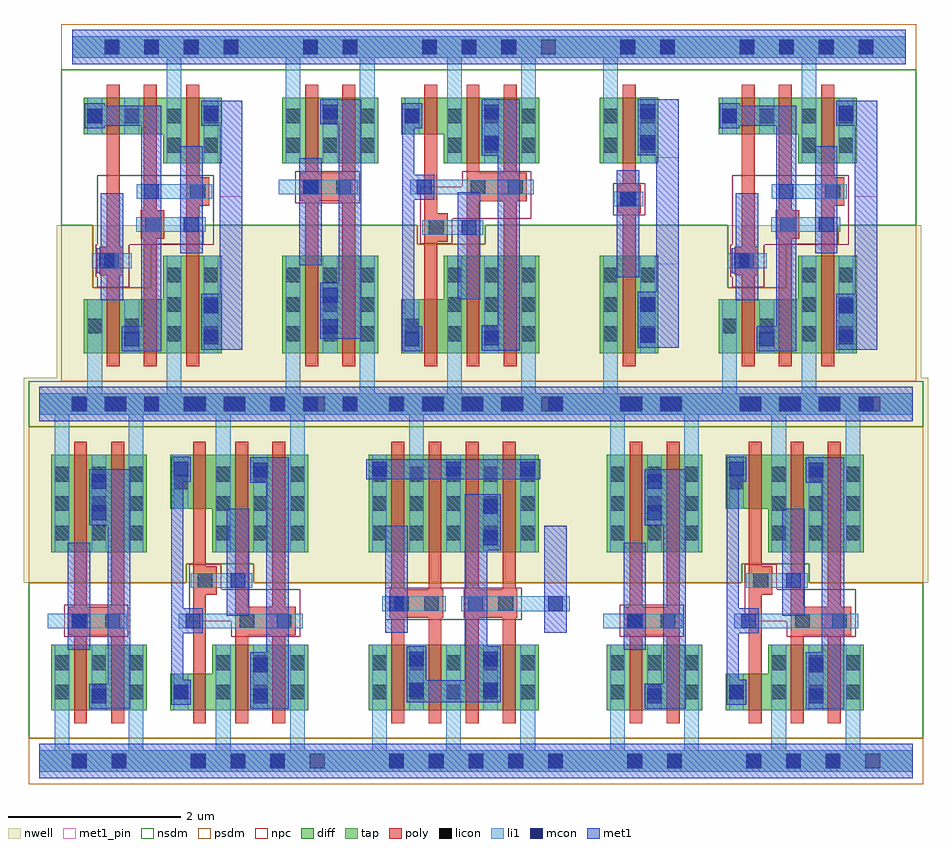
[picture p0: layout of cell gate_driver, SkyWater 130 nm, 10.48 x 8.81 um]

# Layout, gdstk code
from math import pi, radians
import gdstk
lib = gdstk.Library(unit=1e-6, precision=1e-09)
def R(c, l, rs):  # rectangles x0, y0, x1, y1
    for r in rs: c.add(gdstk.rectangle(r[:2], r[2:], *l))
def A(c, l, x, y, w, h, nx, ny, dx, dy):  # array of equal rectangles
    R(c, l, [(x+i*dx, y+j*dy, x+i*dx+w, y+j*dy+h) for i in range(nx) for j in range(ny)])
def P(c, l, *ps):  # polygons
    for p in ps: c.add(gdstk.Polygon(p, *l))
nwell = (64, 20)
diff = (65, 20)
tap = (65, 44)
poly = (66, 20)
licon = (66, 44)
li1 = (67, 20)
mcon = (67, 44)
met1_pin = (68, 16)
met1 = (68, 20)
nsdm = (93, 44)
psdm = (94, 20)
npc = (95, 20)

l1m1_c_cdns_784651134380 = lib.new_cell('L1M1_C_CDNS_784651134380')
R(l1m1_c_cdns_784651134380, li1, [(-0.085,-0.345,0.085,0.345)])
R(l1m1_c_cdns_784651134380, mcon, [(-0.085,-0.265,0.085,-0.095), (-0.085,0.095,0.085,0.265)])
R(l1m1_c_cdns_784651134380, met1, [(-0.115,-0.325,0.115,0.325)])

pyl1con_c_cdns_784651134 = lib.new_cell('PYL1CON_C_CDNS_784651134381')
R(pyl1con_c_cdns_784651134, poly, [(-0.135,-0.165,0.135,0.165)])
R(pyl1con_c_cdns_784651134, licon, [(-0.085,-0.085,0.085,0.085)])
R(pyl1con_c_cdns_784651134, npc, [(-0.185,-0.185,0.185,0.185)])

lilicon_c_cdns_784651134 = lib.new_cell('LILICON_C_CDNS_784651134382')
R(lilicon_c_cdns_784651134, licon, [(-0.085,-0.085,0.085,0.085), (-0.085,-0.085,0.085,0.085)])
R(lilicon_c_cdns_784651134, li1, [(-0.085,-0.165,0.085,0.165)])

l1m1_c_cdns_784651134383 = lib.new_cell('L1M1_C_CDNS_784651134383')
R(l1m1_c_cdns_784651134383, li1, [(-0.165,-0.085,0.165,0.085)])
R(l1m1_c_cdns_784651134383, mcon, [(-0.085,-0.085,0.085,0.085)])
R(l1m1_c_cdns_784651134383, met1, [(-0.115,-0.145,0.115,0.145)])

l1m1_c_cdns_784651134384 = lib.new_cell('L1M1_C_CDNS_784651134384')
R(l1m1_c_cdns_784651134384, li1, [(-0.085,-0.165,0.085,0.165)])
R(l1m1_c_cdns_784651134384, mcon, [(-0.085,-0.085,0.085,0.085)])
R(l1m1_c_cdns_784651134384, met1, [(-0.115,-0.145,0.115,0.145)])

licondiff_c_cdns_7846511 = lib.new_cell('LICONDIFF_C_CDNS_784651134385')
R(licondiff_c_cdns_7846511, diff, [(-0.125,-0.145,0.125,0.145)])
R(licondiff_c_cdns_7846511, licon, [(-0.085,-0.085,0.085,0.085), (-0.085,-0.085,0.085,0.085)])

and2x1 = lib.new_cell('AND2X1')
R(and2x1, nwell, [(-0.18,2.07,2.48,4.445)])
P(and2x1, diff, [(1.735,3.55),(0.135,3.55),(0.135,2.925),(1.055,2.925),(1.055,2.42),(1.735,2.42)],
  [(1.735,1.35),(1.055,1.35),(1.055,1.015),(0.135,1.015),(0.135,0.59),(1.735,0.59)])
R(and2x1, poly, [(0.4,0.44,0.55,3.7), (0.83,0.44,0.98,3.7), (1.32,0.44,1.47,3.7)])
A(and2x1, licon, 0.375, -0.085, 0.17, 0.17, 4, 2, 0.46, 4.14)
A(and2x1, licon, 1.095, 2.56, 0.17, 0.17, 1, 3, 0, 0.34)
A(and2x1, licon, 1.525, 2.56, 0.17, 0.17, 1, 3, 0, 0.34)
R(and2x1, licon, [(0.175,0.715,0.345,0.885), (1.095,0.715,1.265,0.885), (1.525,0.715,1.695,0.885), (1.095,1.055,1.265,1.225), (1.525,1.055,1.695,1.225), (0.175,3.15,0.345,3.32), (0.605,3.15,0.775,3.32)])
R(and2x1, li1, [(0.175,0.59,0.345,1.015), (1.525,0.59,1.695,1.35), (1.525,2.42,1.695,3.55), (0.605,2.925,0.775,3.55)])
P(and2x1, li1, [(2.3,0.125),(1.265,0.125),(1.265,1.35),(1.095,1.35),(1.095,0.125),(0,0.125),(0,-0.125),(2.3,-0.125)],
  [(2.3,4.265),(0,4.265),(0,4.015),(0.175,4.015),(0.175,2.925),(0.345,2.925),(0.345,4.015),(1.095,4.015),(1.095,2.42),(1.265,2.42),(1.265,4.015),(2.3,4.015)])
A(and2x1, mcon, 0.375, -0.085, 0.17, 0.17, 4, 2, 0.46, 4.14)
R(and2x1, met1_pin, [(1.25,1.155,1.51,2.395), (0.33,1.695,0.59,2.935), (1.71,1.73,1.97,3.51)])
P(and2x1, met1, [(1.03,3.53),(0.575,3.53),(0.575,3.3),(0.69,3.3),(0.69,3.24),(0.8,3.24),(0.8,0.915),(0.26,0.915),(0.26,0.685),(1.03,0.685)])
R(and2x1, nsdm, [(-0.125,3.875,2.425,4.405)])
P(and2x1, nsdm, [(2.425,2.07),(1.52,2.07),(1.52,2.29),(0.915,2.29),(0.915,2.795),(0.24,2.795),(0.24,2.07),(-0.125,2.07),(-0.125,0.265),(2.425,0.265)])
R(and2x1, psdm, [(-0.125,-0.265,2.425,0.265)])
P(and2x1, psdm, [(2.425,3.875),(-0.125,3.875),(-0.125,2.07),(0.24,2.07),(0.24,2.795),(0.915,2.795),(0.915,2.29),(1.52,2.29),(1.52,2.07),(2.425,2.07)])
P(and2x1, npc, [(1.64,2.295),(0.66,2.295),(0.66,2.785),(0.29,2.785),(0.29,1.49),(1.64,1.49)])
and2x1.add(gdstk.FlexPath([(0.235,2.48),(0.69,2.48)], 0.17, ends="flush", simple_path=True, layer=67, datatype=20))  # li1
and2x1.add(gdstk.FlexPath([(0.915,1.675),(1.455,1.675)], 0.17, ends="flush", simple_path=True, layer=67, datatype=20))  # li1
and2x1.add(gdstk.FlexPath([(0.74,2.06),(1.38,2.06)], 0.17, ends="flush", simple_path=True, layer=67, datatype=20))  # li1
and2x1.add(gdstk.FlexPath([(0.69,0.59),(0.69,1.015)], 0.17, ends="flush", simple_path=True, layer=67, datatype=20))  # li1
and2x1.add(gdstk.FlexPath([(0,4.14),(2.3,4.14)], 0.4, ends="flush", simple_path=True, layer=68, datatype=16))  # met1_pin
and2x1.add(gdstk.FlexPath([(0,0),(2.3,0)], 0.4, ends="flush", simple_path=True, layer=68, datatype=16))  # met1_pin
and2x1.add(gdstk.FlexPath([(0,0),(2.3,0)], 0.25, ends="flush", simple_path=True, layer=65, datatype=44))  # tap
and2x1.add(gdstk.FlexPath([(0,4.14),(2.3,4.14)], 0.25, ends="flush", simple_path=True, layer=65, datatype=44))  # tap
and2x1.add(gdstk.FlexPath([(0,0),(2.3,0)], 0.4, ends="flush", simple_path=True, layer=68, datatype=20))  # met1
and2x1.add(gdstk.FlexPath([(0,4.14),(2.3,4.14)], 0.4, ends="flush", simple_path=True, layer=68, datatype=20))  # met1
and2x1.add(gdstk.FlexPath([(1.38,2.395),(1.38,1.155)], 0.26, ends="flush", simple_path=True, layer=68, datatype=20))  # met1
and2x1.add(gdstk.FlexPath([(1.495,3.38),(1.84,3.38),(1.84,0.755),(1.695,0.755)], 0.26, ends="flush", simple_path=True, layer=68, datatype=20))  # met1
and2x1.add(gdstk.FlexPath([(0.46,2.935),(0.46,1.695)], 0.26, ends="flush", simple_path=True, layer=68, datatype=20))  # met1
and2x1.add(gdstk.Reference(l1m1_c_cdns_784651134380, (1.61,3.185)))
and2x1.add(gdstk.Reference(pyl1con_c_cdns_784651134, (1.455,1.675)))
and2x1.add(gdstk.Reference(pyl1con_c_cdns_784651134, (0.93,2.06), rotation=pi, x_reflection=True))
and2x1.add(gdstk.Reference(pyl1con_c_cdns_784651134, (0.455,2.48), rotation=pi, x_reflection=True))
and2x1.add(gdstk.Reference(lilicon_c_cdns_784651134, (1.455,1.675), rotation=pi/2))
and2x1.add(gdstk.Reference(l1m1_c_cdns_784651134383, (0.915,1.675), rotation=pi, x_reflection=True))
and2x1.add(gdstk.Reference(l1m1_c_cdns_784651134383, (0.4,2.48)))
and2x1.add(gdstk.Reference(l1m1_c_cdns_784651134383, (1.38,2.06)))
and2x1.add(gdstk.Reference(l1m1_c_cdns_784651134384, (1.61,0.77)))
and2x1.add(gdstk.Reference(l1m1_c_cdns_784651134384, (0.26,0.8)))
and2x1.add(gdstk.Reference(l1m1_c_cdns_784651134384, (0.69,3.385)))
and2x1.add(gdstk.Reference(licondiff_c_cdns_7846511, (0.69,0.8)))
and2x1.add(gdstk.Label('VSS', (1.35,0.005), layer=68, texttype=5))
and2x1.add(gdstk.Label('B', (1.395,1.805), layer=68, texttype=5))
and2x1.add(gdstk.Label('VDD', (1.35,4.145), layer=68, texttype=5))
and2x1.add(gdstk.Label('Y', (1.855,2.325), layer=68, texttype=5))
and2x1.add(gdstk.Label('A', (0.475,2.345), layer=68, texttype=5))

l1m1_c_cdns_784651134386 = lib.new_cell('L1M1_C_CDNS_784651134386')
R(l1m1_c_cdns_784651134386, li1, [(-0.085,-0.165,0.085,0.165)])
R(l1m1_c_cdns_784651134386, mcon, [(-0.085,-0.085,0.085,0.085)])
R(l1m1_c_cdns_784651134386, met1, [(-0.145,-0.115,0.145,0.115)])

nor2x2 = lib.new_cell('NOR2X2')
R(nor2x2, nwell, [(-0.18,2.07,2.94,4.445)])
R(nor2x2, diff, [(0.135,0.59,2.105,1.35), (0.135,2.42,2.105,3.55)])
P(nor2x2, poly, [(1,1.99),(0.98,1.99),(0.98,3.7),(0.83,3.7),(0.83,1.99),(0.55,1.99),(0.55,3.7),(0.4,3.7),(0.4,1.99),(0.38,1.99),(0.38,1.66),(0.4,1.66),(0.4,0.44),(0.55,0.44),(0.55,1.66),(0.83,1.66),(0.83,0.44),(0.98,0.44),(0.98,1.66),(1,1.66)],
  [(1.86,1.99),(1.84,1.99),(1.84,3.7),(1.69,3.7),(1.69,1.99),(1.41,1.99),(1.41,3.7),(1.26,3.7),(1.26,1.99),(1.24,1.99),(1.24,1.66),(1.26,1.66),(1.26,0.44),(1.41,0.44),(1.41,1.66),(1.69,1.66),(1.69,0.44),(1.84,0.44),(1.84,1.66),(1.86,1.66)])
A(nor2x2, licon, 0.375, -0.085, 0.17, 0.17, 5, 2, 0.46, 4.14)
A(nor2x2, licon, 0.175, 0.715, 0.17, 0.17, 5, 2, 0.43, 0.34)
A(nor2x2, licon, 0.175, 2.56, 0.17, 0.17, 5, 3, 0.43, 0.34)
A(nor2x2, li1, 1.035, 2.42, 0.17, 1.13, 3, 1, 0.43, 0)
R(nor2x2, li1, [(0.605,0.59,0.775,1.35), (1.465,0.59,1.635,1.35), (0.175,2.42,0.345,3.55)])
P(nor2x2, li1, [(2.76,4.265),(0,4.265),(0,4.015),(0.605,4.015),(0.605,2.42),(0.775,2.42),(0.775,4.015),(2.76,4.015)],
  [(2.76,0.125),(2.065,0.125),(2.065,1.35),(1.895,1.35),(1.895,0.125),(1.205,0.125),(1.205,1.35),(1.035,1.35),(1.035,0.125),(0.345,0.125),(0.345,1.35),(0.175,1.35),(0.175,0.125),(0,0.125),(0,-0.125),(2.76,-0.125)])
A(nor2x2, mcon, 0.375, -0.085, 0.17, 0.17, 5, 2, 0.46, 4.14)
R(nor2x2, met1_pin, [(1.25,0.805,1.51,2.045), (0.33,1.49,0.59,2.73), (2.17,1.49,2.43,2.73)])
P(nor2x2, met1, [(1.51,3.095),(1.25,3.095),(1.25,0.94),(0.805,0.94),(0.805,1.005),(0.575,1.005),(0.575,0.68),(1.51,0.68)])
R(nor2x2, nsdm, [(-0.125,0.265,2.885,2.07), (-0.125,3.875,2.885,4.405)])
R(nor2x2, psdm, [(-0.125,-0.265,2.885,0.265), (-0.125,2.07,2.885,3.875)])
R(nor2x2, npc, [(0.33,1.64,1.91,2.01)])
nor2x2.add(gdstk.FlexPath([(1.03,1.825),(0.35,1.825)], 0.17, ends="flush", simple_path=True, layer=67, datatype=20))  # li1
nor2x2.add(gdstk.FlexPath([(2.135,1.825),(1.21,1.825)], 0.17, ends="flush", simple_path=True, layer=67, datatype=20))  # li1
nor2x2.add(gdstk.FlexPath([(0.46,1.49),(0.46,2.73)], 0.26, ends="flush", simple_path=True, layer=68, datatype=20))  # met1
nor2x2.add(gdstk.FlexPath([(0,0),(2.76,0)], 0.4, ends="flush", simple_path=True, layer=68, datatype=20))  # met1
nor2x2.add(gdstk.FlexPath([(2.12,3.385),(0.255,3.385)], 0.23, ends=(0, 0.145), simple_path=True, layer=68, datatype=20))  # met1
nor2x2.add(gdstk.FlexPath([(0,4.14),(2.76,4.14)], 0.4, ends="flush", simple_path=True, layer=68, datatype=20))  # met1
nor2x2.add(gdstk.FlexPath([(2.3,1.49),(2.3,2.73)], 0.26, ends="flush", simple_path=True, layer=68, datatype=20))  # met1
nor2x2.add(gdstk.FlexPath([(0,4.14),(2.76,4.14)], 0.25, ends="flush", simple_path=True, layer=65, datatype=44))  # tap
nor2x2.add(gdstk.FlexPath([(0,0),(2.76,0)], 0.25, ends="flush", simple_path=True, layer=65, datatype=44))  # tap
nor2x2.add(gdstk.FlexPath([(0,4.14),(2.76,4.14)], 0.4, ends="flush", simple_path=True, layer=68, datatype=16))  # met1_pin
nor2x2.add(gdstk.FlexPath([(0,0),(2.76,0)], 0.4, ends="flush", simple_path=True, layer=68, datatype=16))  # met1_pin
nor2x2.add(gdstk.Reference(pyl1con_c_cdns_784651134, (1.725,1.825), rotation=pi, x_reflection=True))
nor2x2.add(gdstk.Reference(pyl1con_c_cdns_784651134, (1.375,1.825), rotation=pi, x_reflection=True))
nor2x2.add(gdstk.Reference(pyl1con_c_cdns_784651134, (0.515,1.825), rotation=pi, x_reflection=True))
nor2x2.add(gdstk.Reference(pyl1con_c_cdns_784651134, (0.865,1.825), rotation=pi, x_reflection=True))
nor2x2.add(gdstk.Reference(l1m1_c_cdns_784651134380, (1.55,2.77)))
nor2x2.add(gdstk.Reference(l1m1_c_cdns_784651134380, (0.69,1.005)))
nor2x2.add(gdstk.Reference(l1m1_c_cdns_784651134380, (1.55,1.005)))
nor2x2.add(gdstk.Reference(l1m1_c_cdns_784651134383, (2.3,1.825), x_reflection=True))
nor2x2.add(gdstk.Reference(l1m1_c_cdns_784651134383, (0.46,1.825), x_reflection=True))
nor2x2.add(gdstk.Reference(l1m1_c_cdns_784651134386, (0.26,3.385)))
nor2x2.add(gdstk.Reference(l1m1_c_cdns_784651134386, (1.98,3.385)))
nor2x2.add(gdstk.Reference(l1m1_c_cdns_784651134386, (1.12,3.385)))
nor2x2.add(gdstk.Label('Y', (1.38,1.79), layer=68, texttype=5))
nor2x2.add(gdstk.Label('VDD', (1.35,4.145), layer=68, texttype=5))
nor2x2.add(gdstk.Label('VSS', (1.39,0.015), layer=68, texttype=5))
nor2x2.add(gdstk.Label('B', (2.315,2.085), layer=68, texttype=5))
nor2x2.add(gdstk.Label('A', (0.475,2.085), layer=68, texttype=5))

invx2 = lib.new_cell('INVX2')
R(invx2, nwell, [(-0.18,2.07,1.56,4.445)])
R(invx2, diff, [(0.135,0.59,1.245,1.35), (0.135,2.42,1.245,3.55)])
P(invx2, poly, [(0.98,3.7),(0.83,3.7),(0.83,1.79),(0.55,1.79),(0.55,3.7),(0.4,3.7),(0.4,1.79),(0.365,1.79),(0.365,1.46),(0.4,1.46),(0.4,0.44),(0.55,0.44),(0.55,1.46),(0.83,1.46),(0.83,0.44),(0.98,0.44)])
A(invx2, licon, 0.175, 0.715, 0.17, 0.17, 3, 2, 0.43, 0.34)
A(invx2, licon, 0.175, 2.56, 0.17, 0.17, 3, 3, 0.43, 0.34)
R(invx2, licon, [(0.375,-0.085,0.545,0.085), (0.835,-0.085,1.005,0.085), (0.375,4.055,0.545,4.225), (0.835,4.055,1.005,4.225)])
R(invx2, li1, [(0.605,0.59,0.775,1.35), (0.605,2.42,0.775,3.55)])
P(invx2, li1, [(1.38,4.265),(0,4.265),(0,4.015),(0.175,4.015),(0.175,2.42),(0.345,2.42),(0.345,4.015),(1.035,4.015),(1.035,2.42),(1.205,2.42),(1.205,4.015),(1.38,4.015)],
  [(1.38,0.125),(1.205,0.125),(1.205,1.35),(1.035,1.35),(1.035,0.125),(0.345,0.125),(0.345,1.35),(0.175,1.35),(0.175,0.125),(0,0.125),(0,-0.125),(1.38,-0.125)])
R(invx2, mcon, [(0.375,-0.085,0.545,0.085), (0.835,-0.085,1.005,0.085), (0.375,4.055,0.545,4.225), (0.835,4.055,1.005,4.225)])
R(invx2, met1_pin, [(0.33,1.29,0.59,2.53), (0.79,1.34,1.05,2.58)])
R(invx2, nsdm, [(-0.125,0.265,1.505,2.07), (-0.125,3.875,1.505,4.405)])
R(invx2, psdm, [(-0.125,-0.265,1.505,0.265), (-0.125,2.07,1.505,3.875)])
R(invx2, npc, [(0.285,1.44,1.03,1.81)])
invx2.add(gdstk.FlexPath([(0.095,1.625),(1.01,1.625)], 0.17, ends="flush", simple_path=True, layer=67, datatype=20))  # li1
invx2.add(gdstk.FlexPath([(0,0),(1.38,0)], 0.25, ends="flush", simple_path=True, layer=65, datatype=44))  # tap
invx2.add(gdstk.FlexPath([(0,4.14),(1.38,4.14)], 0.25, ends="flush", simple_path=True, layer=65, datatype=44))  # tap
invx2.add(gdstk.FlexPath([(0,4.14),(1.38,4.14)], 0.4, ends="flush", simple_path=True, layer=68, datatype=20))  # met1
invx2.add(gdstk.FlexPath([(0,0),(1.38,0)], 0.4, ends="flush", simple_path=True, layer=68, datatype=20))  # met1
invx2.add(gdstk.FlexPath([(0.46,1.29),(0.46,2.53)], 0.26, ends="flush", simple_path=True, layer=68, datatype=20))  # met1
invx2.add(gdstk.FlexPath([(0.92,3.385),(0.92,0.61)], 0.26, ends="flush", simple_path=True, layer=68, datatype=20))  # met1
invx2.add(gdstk.FlexPath([(0,4.14),(1.38,4.14)], 0.4, ends="flush", simple_path=True, layer=68, datatype=16))  # met1_pin
invx2.add(gdstk.FlexPath([(0,0),(1.38,0)], 0.4, ends="flush", simple_path=True, layer=68, datatype=16))  # met1_pin
invx2.add(gdstk.Reference(pyl1con_c_cdns_784651134, (0.47,1.625)))
invx2.add(gdstk.Reference(pyl1con_c_cdns_784651134, (0.845,1.625)))
invx2.add(gdstk.Reference(l1m1_c_cdns_784651134384, (0.69,0.755)))
invx2.add(gdstk.Reference(l1m1_c_cdns_784651134380, (0.69,3.06)))
invx2.add(gdstk.Reference(l1m1_c_cdns_784651134383, (0.46,1.625), x_reflection=True))
invx2.add(gdstk.Label('VDD', (0.645,4.145), layer=68, texttype=5))
invx2.add(gdstk.Label('A', (0.475,1.885), layer=68, texttype=5))
invx2.add(gdstk.Label('Y', (0.92,2.325), layer=68, texttype=5))
invx2.add(gdstk.Label('VSS', (0.645,0.005), layer=68, texttype=5))

invx1 = lib.new_cell('INVX1')
R(invx1, nwell, [(-0.18,2.07,1.56,4.445)])
R(invx1, diff, [(0.135,0.59,0.815,1.35), (0.135,2.42,0.815,3.55)])
R(invx1, poly, [(0.4,0.44,0.55,3.7)])
A(invx1, licon, 0.175, 2.56, 0.17, 0.17, 1, 3, 0, 0.34)
A(invx1, licon, 0.605, 2.56, 0.17, 0.17, 1, 3, 0, 0.34)
R(invx1, licon, [(0.375,-0.085,0.545,0.085), (0.835,-0.085,1.005,0.085), (0.175,0.715,0.345,0.885), (0.605,0.715,0.775,0.885), (0.175,1.055,0.345,1.225), (0.605,1.055,0.775,1.225), (0.375,4.055,0.545,4.225), (0.835,4.055,1.005,4.225)])
R(invx1, li1, [(0.605,0.59,0.775,1.35), (0.605,2.42,0.775,3.55)])
P(invx1, li1, [(1.38,4.265),(0,4.265),(0,4.015),(0.175,4.015),(0.175,2.42),(0.345,2.42),(0.345,4.015),(1.38,4.015)],
  [(1.38,0.125),(0.345,0.125),(0.345,1.35),(0.175,1.35),(0.175,0.125),(0,0.125),(0,-0.125),(1.38,-0.125)])
R(invx1, mcon, [(0.375,-0.085,0.545,0.085), (0.835,-0.085,1.005,0.085), (0.375,4.055,0.545,4.225), (0.835,4.055,1.005,4.225)])
R(invx1, met1_pin, [(0.79,1.28,1.05,2.52), (0.33,1.43,0.59,2.67)])
R(invx1, nsdm, [(-0.125,0.265,1.505,2.07), (-0.125,3.875,1.505,4.405)])
R(invx1, psdm, [(-0.125,-0.265,1.505,0.265), (-0.125,2.07,1.505,3.875)])
invx1.add(gdstk.FlexPath([(0.92,3.49),(0.92,0.605)], 0.26, ends="flush", simple_path=True, layer=68, datatype=20))  # met1
invx1.add(gdstk.FlexPath([(0,4.14),(1.38,4.14)], 0.4, ends="flush", simple_path=True, layer=68, datatype=20))  # met1
invx1.add(gdstk.FlexPath([(0.46,1.43),(0.46,2.67)], 0.26, ends="flush", simple_path=True, layer=68, datatype=20))  # met1
invx1.add(gdstk.FlexPath([(0,0),(1.38,0)], 0.4, ends="flush", simple_path=True, layer=68, datatype=20))  # met1
invx1.add(gdstk.FlexPath([(0,4.14),(1.38,4.14)], 0.25, ends="flush", simple_path=True, layer=65, datatype=44))  # tap
invx1.add(gdstk.FlexPath([(0,0),(1.38,0)], 0.25, ends="flush", simple_path=True, layer=65, datatype=44))  # tap
invx1.add(gdstk.FlexPath([(0.295,1.765),(0.64,1.765)], 0.17, ends="flush", simple_path=True, layer=67, datatype=20))  # li1
invx1.add(gdstk.FlexPath([(0,4.14),(1.38,4.14)], 0.4, ends="flush", simple_path=True, layer=68, datatype=16))  # met1_pin
invx1.add(gdstk.FlexPath([(0,0),(1.38,0)], 0.4, ends="flush", simple_path=True, layer=68, datatype=16))  # met1_pin
invx1.add(gdstk.Reference(l1m1_c_cdns_784651134380, (0.69,3.165)))
invx1.add(gdstk.Reference(l1m1_c_cdns_784651134380, (0.69,0.93)))
invx1.add(gdstk.Reference(l1m1_c_cdns_784651134383, (0.46,1.765), x_reflection=True))
invx1.add(gdstk.Reference(pyl1con_c_cdns_784651134, (0.475,1.765), rotation=pi, x_reflection=True))
invx1.add(gdstk.Label('VDD', (0.645,4.145), layer=68, texttype=5))
invx1.add(gdstk.Label('VSS', (0.645,0.005), layer=68, texttype=5))
invx1.add(gdstk.Label('A', (0.475,2.025), layer=68, texttype=5))
invx1.add(gdstk.Label('Y', (0.92,2.265), layer=68, texttype=5))

l1m1_c_cdns_784651134387 = lib.new_cell('L1M1_C_CDNS_784651134387')
R(l1m1_c_cdns_784651134387, li1, [(-0.115,-0.165,0.055,0.165)])
R(l1m1_c_cdns_784651134387, mcon, [(-0.115,-0.085,0.055,0.085)])
R(l1m1_c_cdns_784651134387, met1, [(-0.145,-0.145,0.085,0.145)])

bufx2 = lib.new_cell('BUFX2')
R(bufx2, nwell, [(-0.18,2.07,2.48,4.445)])
P(bufx2, diff, [(1.735,3.55),(0.135,3.55),(0.135,2.925),(0.625,2.925),(0.625,2.42),(1.735,2.42)],
  [(1.735,1.35),(0.625,1.35),(0.625,1.015),(0.135,1.015),(0.135,0.59),(1.735,0.59)])
R(bufx2, poly, [(0.4,0.44,0.55,3.7)])
P(bufx2, poly, [(1.59,1.79),(1.47,1.79),(1.47,3.7),(1.32,3.7),(1.32,1.79),(1.04,1.79),(1.04,3.7),(0.89,3.7),(0.89,0.44),(1.04,0.44),(1.04,1.46),(1.32,1.46),(1.32,0.44),(1.47,0.44),(1.47,1.46),(1.59,1.46)])
A(bufx2, licon, 0.375, -0.085, 0.17, 0.17, 4, 2, 0.46, 4.14)
A(bufx2, licon, 0.665, 0.715, 0.17, 0.17, 3, 2, 0.43, 0.34)
A(bufx2, licon, 0.665, 2.56, 0.17, 0.17, 3, 3, 0.43, 0.34)
R(bufx2, licon, [(0.175,0.715,0.345,0.885), (0.175,3.15,0.345,3.32)])
R(bufx2, li1, [(0.175,0.59,0.345,1.015), (1.095,0.59,1.265,1.35), (1.095,2.42,1.265,3.55), (0.175,2.925,0.345,3.55)])
P(bufx2, li1, [(2.3,0.125),(1.695,0.125),(1.695,1.35),(1.525,1.35),(1.525,0.125),(0.835,0.125),(0.835,1.35),(0.665,1.35),(0.665,0.125),(0,0.125),(0,-0.125),(2.3,-0.125)],
  [(2.3,4.265),(0,4.265),(0,4.015),(0.665,4.015),(0.665,2.42),(0.835,2.42),(0.835,4.015),(1.525,4.015),(1.525,2.42),(1.695,2.42),(1.695,4.015),(2.3,4.015)])
A(bufx2, mcon, 0.375, -0.085, 0.17, 0.17, 3, 2, 0.46, 4.14)
R(bufx2, met1_pin, [(0.79,1.685,1.05,2.925), (1.25,1.685,1.51,2.925)])
R(bufx2, nsdm, [(-0.125,3.875,2.425,4.405)])
P(bufx2, nsdm, [(2.425,2.07),(1.105,2.07),(1.105,2.29),(0.32,2.29),(0.32,2.07),(-0.125,2.07),(-0.125,0.265),(2.425,0.265)])
R(bufx2, psdm, [(-0.125,-0.265,2.425,0.265)])
P(bufx2, psdm, [(2.425,3.875),(-0.125,3.875),(-0.125,2.07),(0.32,2.07),(0.32,2.29),(1.105,2.29),(1.105,2.07),(2.425,2.07)])
P(bufx2, npc, [(1.64,1.99),(0.355,1.99),(0.355,1.62),(0.84,1.62),(0.84,1.44),(1.64,1.44)])
bufx2.add(gdstk.FlexPath([(0.92,2.095),(0.375,2.095)], 0.17, ends="flush", simple_path=True, layer=67, datatype=20))  # li1
bufx2.add(gdstk.FlexPath([(0.305,1.625),(1.67,1.625)], 0.17, ends="flush", simple_path=True, layer=67, datatype=20))  # li1
bufx2.add(gdstk.FlexPath([(0.215,3.46),(0.215,0.8)], 0.14, ends="extended", simple_path=True, layer=68, datatype=20))  # met1
bufx2.add(gdstk.FlexPath([(0.92,1.685),(0.92,2.925)], 0.26, ends="flush", simple_path=True, layer=68, datatype=20))  # met1
bufx2.add(gdstk.FlexPath([(1.38,0.61),(1.38,3.52)], 0.26, ends="flush", simple_path=True, layer=68, datatype=20))  # met1
bufx2.add(gdstk.FlexPath([(0,0),(2.3,0)], 0.4, ends="flush", simple_path=True, layer=68, datatype=20))  # met1
bufx2.add(gdstk.FlexPath([(0,4.14),(2.3,4.14)], 0.4, ends="flush", simple_path=True, layer=68, datatype=20))  # met1
bufx2.add(gdstk.FlexPath([(0,4.14),(2.3,4.14)], 0.25, ends="flush", simple_path=True, layer=65, datatype=44))  # tap
bufx2.add(gdstk.FlexPath([(0,0),(2.3,0)], 0.25, ends="flush", simple_path=True, layer=65, datatype=44))  # tap
bufx2.add(gdstk.FlexPath([(0,4.14),(2.3,4.14)], 0.4, ends="flush", simple_path=True, layer=68, datatype=16))  # met1_pin
bufx2.add(gdstk.FlexPath([(0,0),(2.3,0)], 0.4, ends="flush", simple_path=True, layer=68, datatype=16))  # met1_pin
bufx2.add(gdstk.Reference(pyl1con_c_cdns_784651134, (1.025,1.625), rotation=pi))
bufx2.add(gdstk.Reference(pyl1con_c_cdns_784651134, (0.54,2.095), x_reflection=True))
bufx2.add(gdstk.Reference(pyl1con_c_cdns_784651134, (1.455,1.625), rotation=pi))
bufx2.add(gdstk.Reference(l1m1_c_cdns_784651134380, (1.18,0.935)))
bufx2.add(gdstk.Reference(l1m1_c_cdns_784651134384, (0.26,3.385), rotation=pi, x_reflection=True))
bufx2.add(gdstk.Reference(l1m1_c_cdns_784651134384, (1.18,3.375)))
bufx2.add(gdstk.Reference(l1m1_c_cdns_784651134383, (0.4,1.625)))
bufx2.add(gdstk.Reference(l1m1_c_cdns_784651134383, (0.92,2.095), x_reflection=True))
bufx2.add(gdstk.Reference(l1m1_c_cdns_784651134387, (0.23,0.8), rotation=pi, x_reflection=True))
bufx2.add(gdstk.Label('Y', (1.39,2.28), layer=68, texttype=5))
bufx2.add(gdstk.Label('A', (0.935,2.28), layer=68, texttype=5))
bufx2.add(gdstk.Label('VDD', (0.88,4.145), layer=68, texttype=5))
bufx2.add(gdstk.Label('VSS', (0.92,0.005), layer=68, texttype=5))

gate_driver = lib.new_cell('gate_driver')
gate_driver.add(gdstk.Reference(and2x1, (7.935,8.545), x_reflection=True))
gate_driver.add(gdstk.Reference(and2x1, (0.575,8.545), x_reflection=True))
gate_driver.add(gdstk.Reference(nor2x2, (3.875,0.265)))
gate_driver.add(gdstk.Reference(invx2, (0.195,0.265)))
gate_driver.add(gdstk.Reference(invx2, (2.875,8.545), x_reflection=True))
gate_driver.add(gdstk.Reference(invx2, (6.635,0.265)))
gate_driver.add(gdstk.Reference(invx1, (6.555,8.545), x_reflection=True))
gate_driver.add(gdstk.Reference(bufx2, (8.015,0.265)))
gate_driver.add(gdstk.Reference(bufx2, (1.575,0.265)))
gate_driver.add(gdstk.Reference(bufx2, (4.255,8.545), x_reflection=True))

lib.write_gds('gate_driver.gds')
